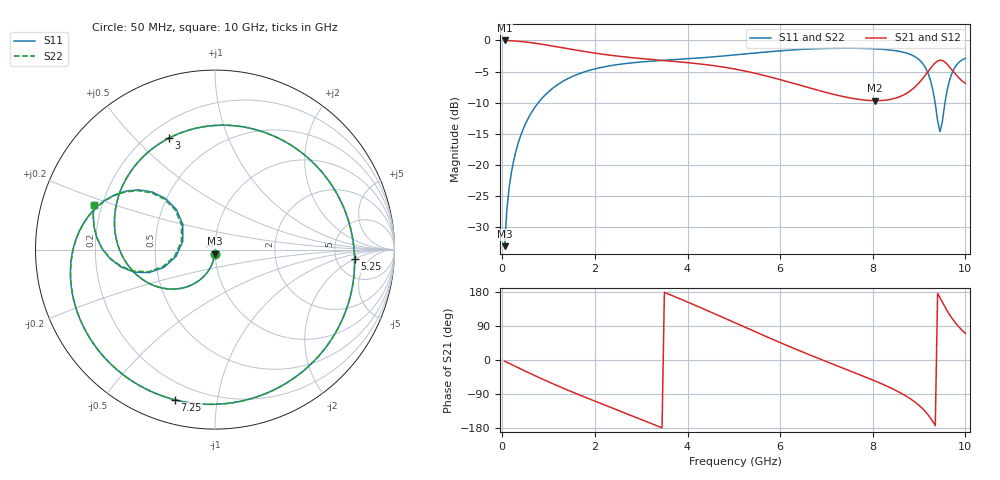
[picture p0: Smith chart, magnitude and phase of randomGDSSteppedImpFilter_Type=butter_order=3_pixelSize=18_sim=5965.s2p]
! freq	dB(S11)	phase(S11)	dB(S12)	phase(S12)
!  dB(S21)	phase(S21)	dB(S22)	phase(S22)
!S-par simulation data
#  GHz  S  DB  R 50
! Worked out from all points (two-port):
!   200 points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, 50 MHz to 10 GHz, reference 50 ohm
!   highest |S21| = 0.00 dB at 50 MHz (marker M1); lowest = -9.7 dB at 8.05 GHz (marker M2)
!   |S21| within 3 dB of the highest: start of sweep to 3.146 GHz
!   lowest |S11| = -33.0 dB at 50 MHz (marker M3), VSWR 1.05, Z = 49.8 - j2.23 ohm
!   |S11| at or under -10 dB: start of sweep to 776 MHz; 9.346 GHz to 9.559 GHz (213.4 MHz wide, 2.26 % of centre)
!   |S22| runs from -33.0 to -1.2 dB; largest |S21 - S12| = 0
!   S11 on the Smith chart (normalised r, x): 50 MHz: 1.00, -0.04; 3 GHz: 0.28, +0.63; 5.25 GHz: 7.51, -2.04; 7.25 GHz: 0.11, -0.76; 10 GHz: 0.17, +0.17
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0.05  -33.00 -93.0  -0.00 -3.0  -0.00 -3.0  -33.00 -93.0
0.1  -27.00 -96.2  -0.01 -6.0  -0.01 -6.0  -27.00 -96.2
0.2  -21.04 -102.3  -0.05 -12.0  -0.05 -12.0  -21.04 -102.4
0.5  -13.39 -120.2  -0.25 -29.6  -0.25 -29.6  -13.39 -120.2
1.1  -7.60 -153.7  -0.92 -63.1  -0.92 -63.1  -7.60 -153.7
1.75  -5.10 173.1  -1.75 -96.3  -1.75 -96.3  -5.10 173.0
3  -3.45 112.7  -2.91 -156.7  -2.91 -156.7  -3.45 112.7
3.4  -3.23 93.0  -3.17 -176.4  -3.17 -176.4  -3.23 93.0
4.2  -2.84 52.1  -3.71 142.5  -3.71 142.5  -2.84 52.2
5.05  -2.31 6.8  -4.63 96.9  -4.63 96.9  -2.30 6.9
5.25  -2.16 -3.9  -4.93 86.0  -4.93 86.0  -2.16 -3.8
5.9  -1.72 -38.4  -6.09 51.2  -6.09 51.2  -1.72 -38.2
6.7  -1.35 -78.7  -7.76 10.4  -7.76 10.4  -1.35 -78.5
7.25  -1.25 -104.9  -8.82 -16.3  -8.82 -16.3  -1.25 -104.7
8.05  -1.35 -142.8  -9.67 -55.3  -9.67 -55.3  -1.35 -142.6
8.35  -1.52 -158.1  -9.50 -71.5  -9.50 -71.5  -1.52 -157.8
8.8  -2.21 175.2  -8.13 -101.4  -8.13 -101.4  -2.21 175.6
9.1  -3.93 151.3  -5.91 -131.4  -5.91 -131.4  -3.91 151.9
9.4  -12.85 142.0  -3.30 176.1  -3.30 176.1  -12.62 143.1
9.45  -14.64 165.1  -3.17 164.7  -3.17 164.7  -14.30 165.3
9.65  -6.58 -164.5  -4.21 121.1  -4.21 121.1  -6.56 -165.2
10  -2.88 159.7  -6.86 70.4  -6.86 70.4  -2.87 159.5
